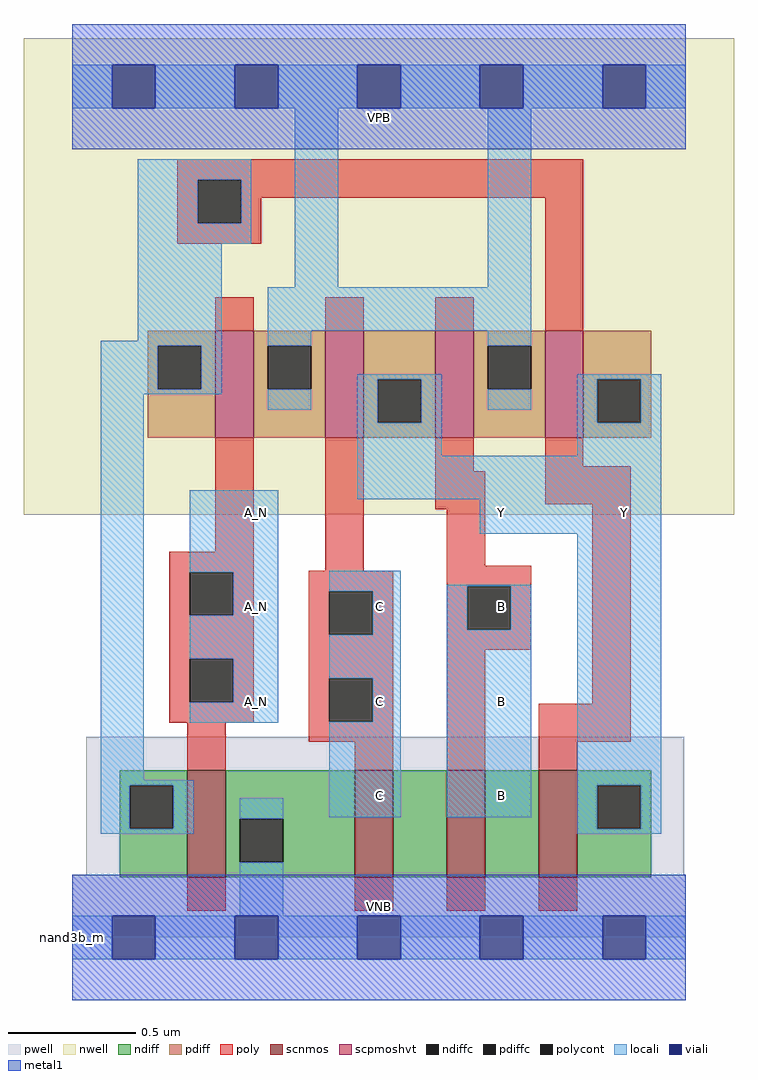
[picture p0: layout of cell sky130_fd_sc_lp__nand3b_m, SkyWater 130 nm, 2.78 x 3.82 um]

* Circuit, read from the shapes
.subckt sky130_fd_sc_lp__nand3b_m A_N B C VGND VNB VPB VPWR Y
XM1 VGND A_N n1 VNB sky130_fd_pr__nfet_01v8 w=0.42 l=0.15
XM2 n2 C VGND VNB sky130_fd_pr__nfet_01v8 w=0.42 l=0.15
XM3 n3 B n2 VNB sky130_fd_pr__nfet_01v8 w=0.42 l=0.15
XM4 Y n1 n3 VNB sky130_fd_pr__nfet_01v8 w=0.42 l=0.15
XM5 VPWR A_N n1 VPB sky130_fd_pr__pfet_01v8_hvt w=0.42 l=0.15
XM6 Y C VPWR VPB sky130_fd_pr__pfet_01v8_hvt w=0.42 l=0.15
XM7 VPWR B Y VPB sky130_fd_pr__pfet_01v8_hvt w=0.42 l=0.15
XM8 Y n1 VPWR VPB sky130_fd_pr__pfet_01v8_hvt w=0.42 l=0.15
.ends

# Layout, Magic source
magic
tech sky130A
magscale 1 2
<< nwell >>
rect -38 331 518 704
<< pwell >>
rect 11 49 479 157
rect 0 0 480 49
<< scnmos >>
rect 90 47 120 131
rect 221 47 251 131
rect 293 47 323 131
rect 365 47 395 131
<< scpmoshvt >>
rect 112 391 142 475
rect 198 391 228 475
rect 284 391 314 475
rect 370 391 400 475
<< ndiff >>
rect 37 119 90 131
rect 37 85 45 119
rect 79 85 90 119
rect 37 47 90 85
rect 120 93 221 131
rect 120 59 131 93
rect 165 59 221 93
rect 120 47 221 59
rect 251 47 293 131
rect 323 47 365 131
rect 395 119 453 131
rect 395 85 411 119
rect 445 85 453 119
rect 395 47 453 85
<< pdiff >>
rect 59 463 112 475
rect 59 429 67 463
rect 101 429 112 463
rect 59 391 112 429
rect 142 463 198 475
rect 142 429 153 463
rect 187 429 198 463
rect 142 391 198 429
rect 228 437 284 475
rect 228 403 239 437
rect 273 403 284 437
rect 228 391 284 403
rect 314 463 370 475
rect 314 429 325 463
rect 359 429 370 463
rect 314 391 370 429
rect 400 437 453 475
rect 400 403 411 437
rect 445 403 453 437
rect 400 391 453 403
<< ndiffc >>
rect 45 85 79 119
rect 131 59 165 93
rect 411 85 445 119
<< pdiffc >>
rect 67 429 101 463
rect 153 429 187 463
rect 239 403 273 437
rect 325 429 359 463
rect 411 403 445 437
<< poly >>
rect 82 593 400 609
rect 82 559 98 593
rect 132 579 400 593
rect 132 559 148 579
rect 82 543 148 559
rect 112 475 142 501
rect 198 475 228 501
rect 284 475 314 501
rect 370 475 400 579
rect 112 302 142 391
rect 76 286 142 302
rect 198 287 228 391
rect 284 365 314 391
rect 370 369 400 391
rect 284 335 323 365
rect 370 339 437 369
rect 293 291 323 335
rect 76 252 92 286
rect 126 252 142 286
rect 76 218 142 252
rect 76 184 92 218
rect 126 184 142 218
rect 76 168 142 184
rect 185 271 251 287
rect 185 237 201 271
rect 235 237 251 271
rect 185 203 251 237
rect 185 169 201 203
rect 235 169 251 203
rect 90 131 120 168
rect 185 153 251 169
rect 221 131 251 153
rect 293 275 359 291
rect 293 241 309 275
rect 343 241 359 275
rect 293 225 359 241
rect 293 131 323 225
rect 407 183 437 339
rect 365 153 437 183
rect 365 131 395 153
rect 90 21 120 47
rect 221 21 251 47
rect 293 21 323 47
rect 365 21 395 47
<< polycont >>
rect 98 559 132 593
rect 92 252 126 286
rect 92 184 126 218
rect 201 237 235 271
rect 201 169 235 203
rect 309 241 343 275
<< locali >>
rect 0 649 31 683
rect 65 649 127 683
rect 161 649 223 683
rect 257 649 319 683
rect 353 649 415 683
rect 449 649 480 683
rect 51 593 140 609
rect 51 559 98 593
rect 132 559 140 593
rect 51 543 140 559
rect 51 467 117 543
rect 174 509 208 649
rect 325 509 359 649
rect 22 463 117 467
rect 22 429 67 463
rect 101 429 117 463
rect 22 425 117 429
rect 153 475 359 509
rect 153 463 187 475
rect 325 463 359 475
rect 22 123 56 425
rect 153 413 187 429
rect 223 437 289 441
rect 223 403 239 437
rect 273 403 289 437
rect 325 413 359 429
rect 395 437 461 441
rect 223 377 289 403
rect 395 403 411 437
rect 445 403 461 437
rect 395 377 461 403
rect 92 286 161 350
rect 223 343 461 377
rect 319 316 461 343
rect 126 252 161 286
rect 92 218 161 252
rect 126 184 161 218
rect 92 168 161 184
rect 201 271 257 287
rect 235 237 257 271
rect 201 203 257 237
rect 235 169 257 203
rect 22 119 95 123
rect 22 85 45 119
rect 79 85 95 119
rect 22 81 95 85
rect 131 93 165 109
rect 201 94 257 169
rect 293 275 359 276
rect 293 241 309 275
rect 343 241 359 275
rect 293 94 359 241
rect 395 119 461 316
rect 395 85 411 119
rect 445 85 461 119
rect 395 81 461 85
rect 131 17 165 59
rect 0 -17 31 17
rect 65 -17 127 17
rect 161 -17 223 17
rect 257 -17 319 17
rect 353 -17 415 17
rect 449 -17 480 17
<< viali >>
rect 31 649 65 683
rect 127 649 161 683
rect 223 649 257 683
rect 319 649 353 683
rect 415 649 449 683
rect 31 -17 65 17
rect 127 -17 161 17
rect 223 -17 257 17
rect 319 -17 353 17
rect 415 -17 449 17
<< metal1 >>
rect 0 683 480 715
rect 0 649 31 683
rect 65 649 127 683
rect 161 649 223 683
rect 257 649 319 683
rect 353 649 415 683
rect 449 649 480 683
rect 0 617 480 649
rect 0 17 480 49
rect 0 -17 31 17
rect 65 -17 127 17
rect 161 -17 223 17
rect 257 -17 319 17
rect 353 -17 415 17
rect 449 -17 480 17
rect 0 -49 480 -17
<< labels >>
flabel pwell s 0 0 480 49 0 FreeSans 200 0 0 0 VNB
port 5 nsew ground bidirectional
flabel nwell s 0 617 480 666 0 FreeSans 200 0 0 0 VPB
port 6 nsew power bidirectional
rlabel comment s 0 0 0 0 4 nand3b_m
flabel metal1 s 0 0 480 49 0 FreeSans 340 0 0 0 VGND
port 4 nsew ground bidirectional
flabel metal1 s 0 617 480 666 0 FreeSans 340 0 0 0 VPWR
port 7 nsew power bidirectional
flabel locali s 319 316 353 350 0 FreeSans 340 0 0 0 Y
port 8 nsew signal output
flabel locali s 415 316 449 350 0 FreeSans 340 0 0 0 Y
port 8 nsew signal output
flabel locali s 319 94 353 128 0 FreeSans 340 0 0 0 B
port 2 nsew signal input
flabel locali s 319 168 353 202 0 FreeSans 340 0 0 0 B
port 2 nsew signal input
flabel locali s 319 242 353 276 0 FreeSans 340 0 0 0 B
port 2 nsew signal input
flabel locali s 223 94 257 128 0 FreeSans 340 0 0 0 C
port 3 nsew signal input
flabel locali s 223 168 257 202 0 FreeSans 340 0 0 0 C
port 3 nsew signal input
flabel locali s 223 242 257 276 0 FreeSans 340 0 0 0 C
port 3 nsew signal input
flabel locali s 127 168 161 202 0 FreeSans 340 0 0 0 A_N
port 1 nsew signal input
flabel locali s 127 242 161 276 0 FreeSans 340 0 0 0 A_N
port 1 nsew signal input
flabel locali s 127 316 161 350 0 FreeSans 340 0 0 0 A_N
port 1 nsew signal input
<< properties >>
string LEFsite unit
string LEFclass CORE
string FIXED_BBOX 0 0 480 666
string GDS_FILE $PDKPATH/libs.ref/sky130_fd_sc_lp/gds/sky130_fd_sc_lp.gds
string LEFsymmetry X Y R90
string GDS_END 3642402
string GDS_START 3636708
<< end >>
